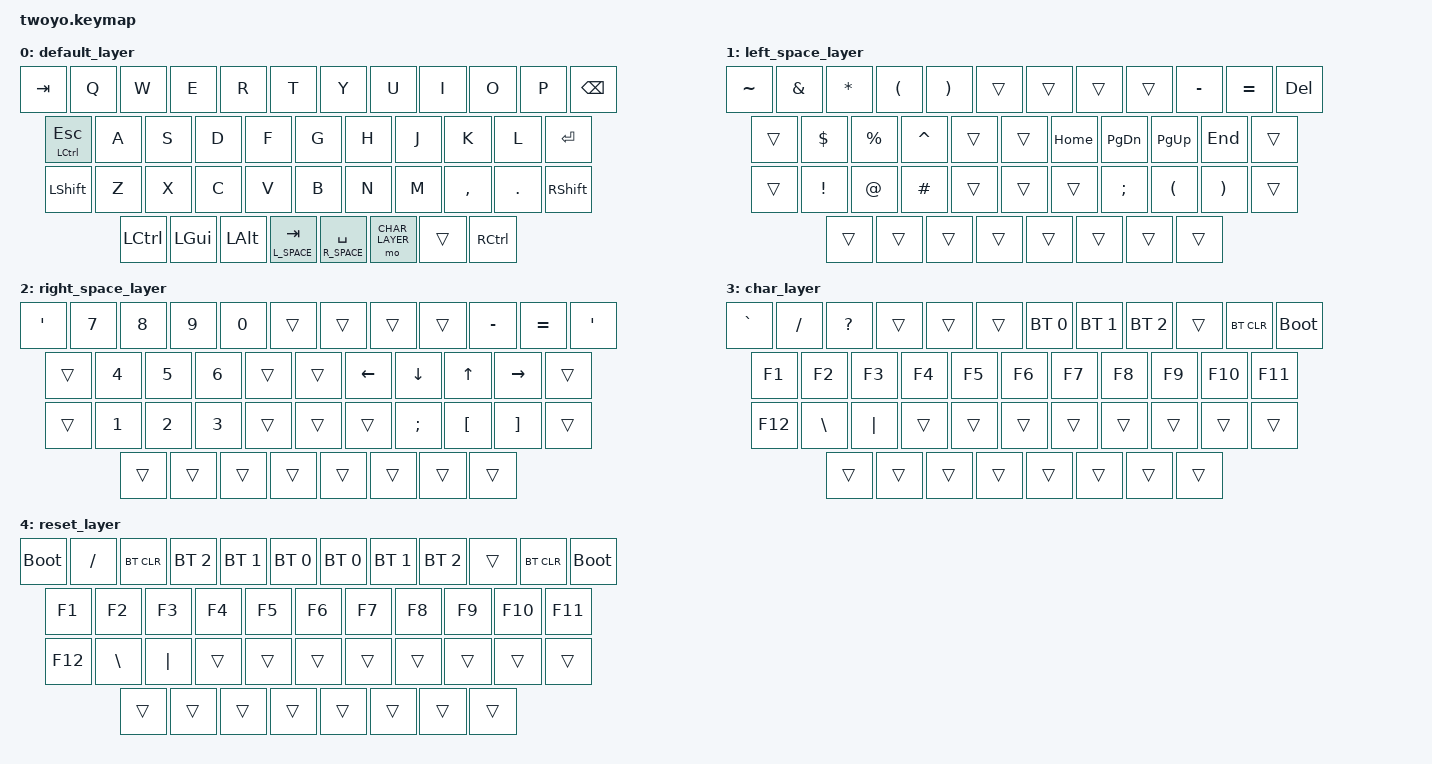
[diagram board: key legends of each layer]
/*
 * Copyright (c) 2020 The ZMK Contributors
 *
 * SPDX-License-Identifier: MIT
 */

#include <behaviors.dtsi>
#include <dt-bindings/zmk/keys.h>
#include <dt-bindings/zmk/bt.h>
#include <dt-bindings/zmk/outputs.h>

#define DEFAULT 0
#define L_SPACE   1
#define R_SPACE   2
#define CHAR_LAYER   3
#define RST_LAYER   4

/ {
        keymap {
                compatible = "zmk,keymap";

                default_layer {
// -----------------------------------------------------------------------------------------
// |  TAB |  Q  |  W  |  E  |  R  |  T  |   |  Y  |  U   |  I  |  O  |  P    | BKSP |
// | ESC  |  A  |  S  |  D  |  F  |  G  |   |  H  |  J   |  K  |  L  | ENTER |
// | SHFT |  Z  |  X  |  C  |  V  |  B  |   |  N  |  M   |  ,  |  .  |  SHFT |
// | CTL | GUI | ALT  |     |   L+SPC   |   |    R+SPC   | CHR |     |  CTL  |
                        bindings = <
   &kp TAB  &kp Q &kp W &kp E &kp R &kp T     &kp Y &kp U  &kp I  &kp O  &kp P   &kp BSPC
   &mt LCTL ESC &kp A  &kp S &kp D &kp F &kp G        &kp H &kp J  &kp K     &kp L     &kp ENTER
   &kp LSHFT &kp Z &kp X &kp C &kp V &kp B        &kp N &kp M  &kp COMMA &kp DOT &kp RSHFT
   &kp LCTL &kp LGUI &kp LALT &lt L_SPACE TAB   &lt R_SPACE SPACE &mo CHAR_LAYER &trans &kp RCTL
                        >;
                };

                left_space_layer {
// -----------------------------------------------------------------------------------------
// |TILDE |  &  |  *  |  (  |  )  |     |   |      |        |       |   -   |  =  | DEL |
// |      |  $  |  %  |  ^  |     |     |   | HOME | PG_DWN | PG_UP |  END  |     |
// |      |  !  |  @  |  #  |     |     |   |      |  ";"   |  "("  |  ")"  |     |
// |      |     |     |     |           |   |               |       |       |     |
                        bindings = <
   &kp TILDE  &kp AMPS &kp STAR &kp LPAR &kp RPAR &trans     &trans &trans  &trans  &kp MINUS  &kp EQUAL  &kp DEL
   &trans &kp DOLLAR  &kp PERCENT &kp CARET &trans &trans        &kp HOME &kp PG_DN  &kp PG_UP  &kp END  &trans
   &trans &kp EXCL &kp AT &kp HASH &trans &trans        &trans &kp SEMICOLON  &kp LPAR &kp RPAR &trans
   &trans &trans &trans &trans   &trans &trans &trans &trans
                        >;
                };

                right_space_layer {
// -----------------------------------------------------------------------------------------
// |QUOTE |  7  |  8  |  9  |  0  |     |   |      |      |      |  -    |  =   | QUOTE |
// |      |  4  |  5  |  6  |     |     |   | LEFT | DOWN |  UP  | RIGHT |      |
// |      |  1  |  2  |  3  |     |     |   |      |      |L_BRC | R_BRC |      |
// |      |     |     |     |     |     |   |             |      |       |      |
                        bindings = <
   &kp SQT  &kp N7 &kp N8 &kp N9 &kp N0 &trans     &trans &trans  &trans  &kp MINUS  &kp EQUAL  &kp SQT
   &trans &kp N4  &kp N5 &kp N6 &trans &trans        &kp LEFT &kp DOWN  &kp UP  &kp RIGHT  &trans
   &trans &kp N1 &kp N2 &kp N3 &trans &trans        &trans &kp SEMICOLON  &kp LBKT &kp RBKT &trans
   &trans &trans &trans &trans   &trans &trans &trans &trans
                        >;
                };

                char_layer {
// -----------------------------------------------------------------------------------------
// |  `  |  /  |  ?  |     |     |      |   | BT0 | BT1 | BT2 |     |BTCLR| RESET |
// |  F1 |  F2 | F3  | F4  | F5  |  F6  |   | F7  |  F8 |  F9 | F10 | F11 |           
// | F12 |  \  |  |  |     |     |   +  |   |     |     |     |     |     |      
// |     |     |     |     |            |   |           |     |     |     |
                        bindings = <
   &kp GRAVE  &kp FSLH &kp QUESTION &trans &trans &trans     &bt BT_SEL 0 &bt BT_SEL 1  &bt BT_SEL 2  &trans  &bt BT_CLR  &bootloader
   &kp F1 &kp F2  &kp F3 &kp F4 &kp F5 &kp F6        &kp F7 &kp F8  &kp F9  &kp F10  &kp F11
   &kp F12 &kp BSLH &kp PIPE &trans &trans &trans        &trans &trans  &trans &trans &trans
   &trans &trans &trans &trans   &trans &trans &trans &trans
                        >;
                };

                reset_layer {
// -----------------------------------------------------------------------------------------
// |RESET|  /  |BTCLR| BT2 | BT1 | BT0  |   | BT0 | BT1 | BT2 |     |BTCLR| RESET |
// |  F1 |  F2 | F3  | F4  | F5  |  F6  |   | F7  |  F8 |  F9 | F10 | F11 |           
// | F12 |  \  |  |  |     |     |   +  |   |     |     |     |     |     |      
// |     |     |     |     |            |   |           |     |     |     |
                        bindings = <
   &bootloader  &kp FSLH &bt BT_CLR &bt BT_SEL 2 &bt BT_SEL 1 &bt BT_SEL 0     &bt BT_SEL 0 &bt BT_SEL 1  &bt BT_SEL 2  &trans  &bt BT_CLR  &bootloader
   &kp F1 &kp F2  &kp F3 &kp F4 &kp F5 &kp F6        &kp F7 &kp F8  &kp F9  &kp F10  &kp F11
   &kp F12 &kp BSLH &kp PIPE &trans &trans &trans        &trans &trans  &trans &trans &trans
   &trans &trans &trans &trans   &trans &trans &trans &trans
                        >;
                };
        };
};
